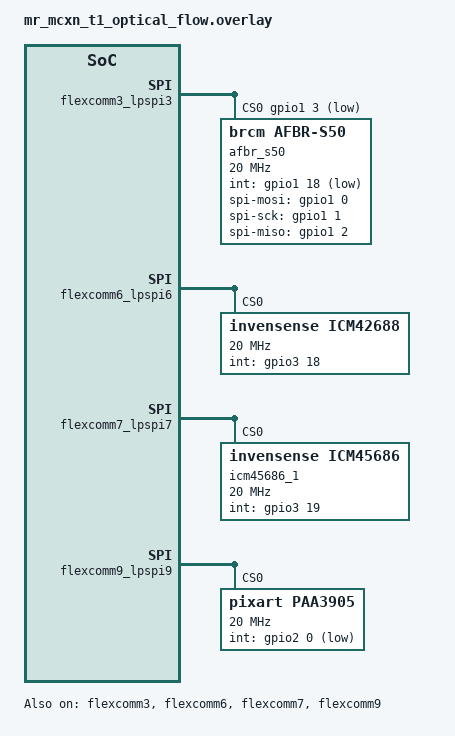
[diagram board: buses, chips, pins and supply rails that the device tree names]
/*
 * Copyright 2026 NXP
 *
 * SPDX-License-Identifier: Apache-2.0
 */

/*
 * Shield overlay for the MR-MCXN-T1 Optical Flow daughter board.
 * Adds: AFBR-S50 (ToF), ICM42688 (IMU), ICM45686 (IMU), PAA3905 (optical flow)
 * on FlexComm3/6/7/9 SPI buses.
 */

#include <nxp/mcx/MCXN947VDF-pinctrl.h>
#include <zephyr/dt-bindings/sensor/afbr_s50.h>
#include <zephyr/dt-bindings/sensor/icm42688.h>
#include <zephyr/dt-bindings/sensor/icm45686.h>

&pinctrl {
	pinmux_flexcomm3_lpspi: pinmux_flexcomm3_lpspi {
		group0 {
			pinmux = <FC3_P0_PIO1_0>,
				 <FC3_P1_PIO1_1>,
				 <FC3_P2_PIO1_2>,
				 <FC3_P3_PIO1_3>;
			slew-rate = "fast";
			drive-strength = "low";
			input-enable;
		};
	};

	pinmux_flexcomm3_lpspi_gpio: pinmux_flexcomm3_lpspi_gpio {
		group0 {
			pinmux = <PIO1_0>,
				 <PIO1_1>,
				 <PIO1_2>,
				 <PIO1_3>;
			slew-rate = "fast";
			drive-strength = "low";
			input-enable;
		};
	};

	pinmux_flexcomm6_lpspi: pinmux_flexcomm6_lpspi {
		group0 {
			pinmux = <FC6_P0_PIO3_1>,
				 <FC6_P1_PIO3_6>,
				 <FC6_P2_PIO3_10>,
				 <FC6_P3_PIO3_11>;
			slew-rate = "fast";
			drive-strength = "low";
			input-enable;
		};
	};

	pinmux_flexcomm7_lpspi: pinmux_flexcomm7_lpspi {
		group0 {
			pinmux = <FC7_P0_PIO3_2>,
				 <FC7_P1_PIO3_3>,
				 <FC7_P2_PIO3_4>,
				 <FC7_P3_PIO3_5>;
			slew-rate = "fast";
			drive-strength = "low";
			input-enable;
		};
	};

	pinmux_flexcomm9_lpspi: pinmux_flexcomm9_lpspi {
		group0 {
			pinmux = <FC9_P0_PIO2_4>,
				 <FC9_P1_PIO2_3>,
				 <FC9_P2_PIO2_5>,
				 <FC9_P3_PIO2_2>;
			slew-rate = "fast";
			drive-strength = "low";
			input-enable;
		};
	};
};

/* ── FlexComm bus enables ── */

&flexcomm3 {
	status = "okay";
};

&flexcomm6 {
	status = "okay";
};

&flexcomm7 {
	status = "okay";
};

&flexcomm9 {
	status = "okay";
};

/* ── AFBR-S50 (ToF ranging) on LPSPI3 ── */

&flexcomm3_lpspi3 {
	status = "okay";
	pinctrl-0 = <&pinmux_flexcomm3_lpspi>;
	pinctrl-1 = <&pinmux_flexcomm3_lpspi_gpio>;
	pinctrl-names = "default", "priv_start";
	cs-gpios = <&gpio1 3 GPIO_ACTIVE_LOW>;

	afbr_s50: afbr_s50@0 {
		compatible = "brcm,afbr-s50";
		reg = <0>;
		spi-max-frequency = <DT_FREQ_M(20)>;
		spi-cs-setup-delay-ns = <50>;
		spi-cs-hold-delay-ns = <50>;
		spi-interframe-delay-ns = <50>;
		odr = <50>;
		dual-freq-mode = <AFBR_S50_DT_DFM_MODE_4X>;
		measurement-mode = <AFBR_S50_DT_MODE_SHORT_RANGE>;
		int-gpios = <&gpio1 18 (GPIO_ACTIVE_LOW | GPIO_PULL_UP)>;
		spi-mosi-gpios = <&gpio1 0 GPIO_ACTIVE_HIGH>;
		spi-sck-gpios = <&gpio1 1 GPIO_ACTIVE_HIGH>;
		spi-miso-gpios = <&gpio1 2 GPIO_ACTIVE_HIGH>;
	};
};

/* ── ICM42688 (IMU) on LPSPI6 ── */

&flexcomm6_lpspi6 {
	status = "okay";
	pinctrl-0 = <&pinmux_flexcomm6_lpspi>;
	pinctrl-names = "default";

	icm42688: icm42688_optical_flow@0 {
		compatible = "invensense,icm42688", "invensense,icm4268x";
		reg = <0>;
		int-gpios = <&gpio3 18 GPIO_ACTIVE_HIGH>;
		spi-max-frequency = <DT_FREQ_M(20)>;
		spi-cs-setup-delay-ns = <50>;
		spi-cs-hold-delay-ns = <50>;
		spi-interframe-delay-ns = <50>;
		accel-pwr-mode = <ICM42688_DT_ACCEL_LN>;
		accel-odr = <ICM42688_DT_ACCEL_ODR_1000>;
		accel-fs = <ICM42688_DT_ACCEL_FS_16>;
		gyro-pwr-mode = <ICM42688_DT_GYRO_LN>;
		gyro-odr = <ICM42688_DT_GYRO_ODR_1000>;
		gyro-fs = <ICM42688_DT_GYRO_FS_2000>;
		fifo-hires;
	};
};

/* ── ICM45686 (IMU) on LPSPI7 ── */

&flexcomm7_lpspi7 {
	status = "okay";
	pinctrl-0 = <&pinmux_flexcomm7_lpspi>;
	pinctrl-names = "default";

	icm45686_1: icm45686_optical_flow@0 {
		compatible = "invensense,icm45686";
		reg = <0>;
		spi-max-frequency = <DT_FREQ_M(20)>;
		int-gpios = <&gpio3 19 GPIO_ACTIVE_HIGH>;
		spi-cs-setup-delay-ns = <50>;
		spi-cs-hold-delay-ns = <50>;
		spi-interframe-delay-ns = <50>;
		accel-pwr-mode = <ICM45686_DT_ACCEL_LN>;
		accel-fs = <ICM45686_DT_ACCEL_FS_2>;
		accel-odr = <ICM45686_DT_ACCEL_ODR_400>;
		accel-lpf = <ICM45686_DT_ACCEL_LPF_BW_1_32>;
		gyro-pwr-mode = <ICM45686_DT_GYRO_LN>;
		gyro-fs = <ICM45686_DT_GYRO_FS_4000>;
		gyro-odr = <ICM45686_DT_GYRO_ODR_400>;
		gyro-lpf = <ICM45686_DT_GYRO_LPF_BW_1_32>;
		fifo-watermark = <1>;
	};
};

/* ── PAA3905 (optical flow) on LPSPI9 ── */

&flexcomm9_lpspi9 {
	status = "okay";
	pinctrl-0 = <&pinmux_flexcomm9_lpspi>;
	pinctrl-names = "default";

	paa3905: paa3905@0 {
		compatible = "pixart,paa3905";
		reg = <0>;
		spi-max-frequency = <DT_FREQ_M(20)>;
		spi-cs-setup-delay-ns = <50>;
		spi-cs-hold-delay-ns = <50>;
		spi-interframe-delay-ns = <50>;
		int-gpios = <&gpio2 0 GPIO_ACTIVE_LOW>;
	};
};
